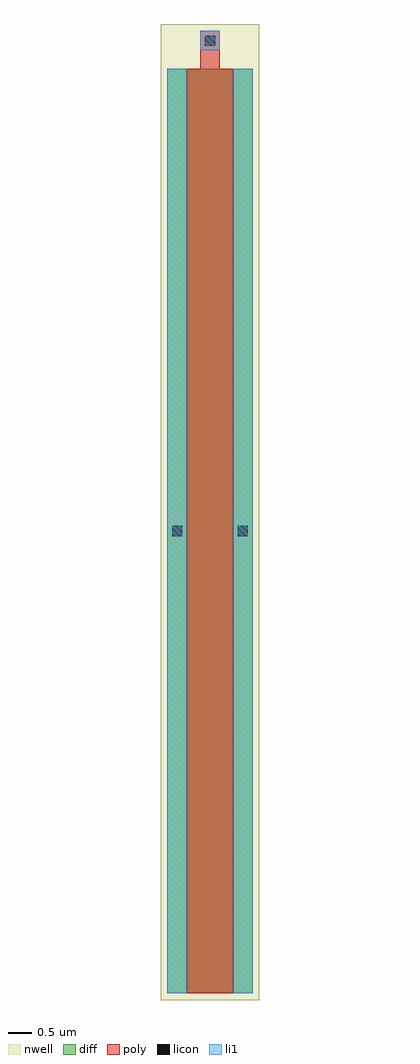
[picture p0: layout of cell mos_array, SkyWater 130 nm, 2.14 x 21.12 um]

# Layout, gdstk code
import gdstk
lib = gdstk.Library(unit=1e-6, precision=1e-09)
def R(c, l, rs):  # rectangles x0, y0, x1, y1
    for r in rs: c.add(gdstk.rectangle(r[:2], r[2:], *l))
nwell = (64, 20)
diff = (65, 20)
poly = (66, 20)
licon = (66, 44)
li1 = (67, 20)

mos_array = lib.new_cell('mos_array')
R(mos_array, nwell, [(-0.15,-0.15,1.99,20.97)])
R(mos_array, diff, [(0,0,1.84,20)])
R(mos_array, poly, [(0.42,0,1.42,20), (0.71,20,1.13,20.82)])
R(mos_array, licon, [(0.1,9.89,0.32,10.11), (1.52,9.89,1.74,10.11), (0.81,20.5,1.03,20.72)])
R(mos_array, li1, [(0,0,0.42,20), (1.42,0,1.84,20), (0.71,20.4,1.13,20.82)])

lib.write_gds('mos_array.gds')
